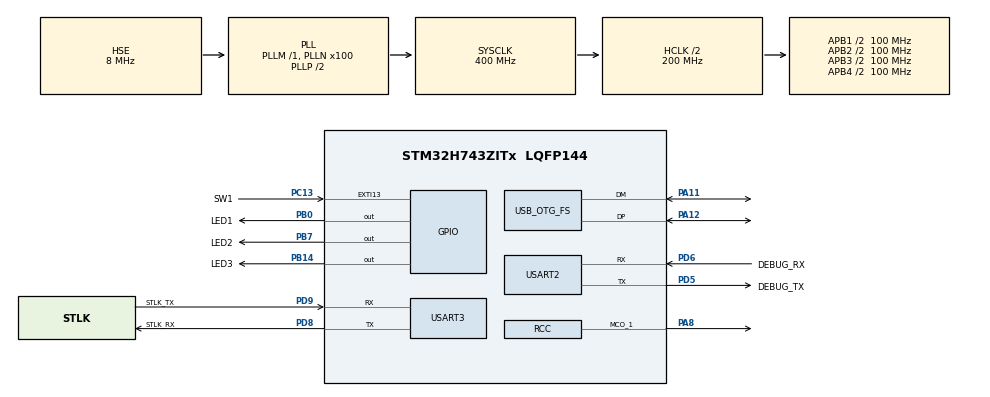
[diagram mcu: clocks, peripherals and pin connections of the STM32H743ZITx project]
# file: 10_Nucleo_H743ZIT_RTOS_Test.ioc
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FREERTOS.Tasks01=defaultTask,0,128,StartDefaultTask,Default,NULL
Mcu.Family=STM32H7
Mcu.Name=STM32H743ZITx
Mcu.Package=LQFP144
NVIC.EXTI15_10_IRQn=true\:5\:0\:false\:false\:true\:true\:true\:true
NVIC.OTG_FS_IRQn=true\:5\:0\:false\:false\:true\:true\:false\:true
NVIC.PriorityGroup=NVIC_PRIORITYGROUP_4
NVIC.TIM16_IRQn=true\:0\:0\:false\:false\:true\:false\:false\:true
NVIC.TIM17_IRQn=true\:5\:0\:false\:false\:true\:true\:true\:true
NVIC.TimeBase=TIM16_IRQn
NVIC.TimeBaseIP=TIM16
NVIC.USART2_IRQn=true\:5\:0\:false\:false\:true\:true\:true\:true
PA11.Mode=Device_Only
PA11.Signal=USB_OTG_FS_DM
PA12.Mode=Device_Only
PA12.Signal=USB_OTG_FS_DP
PA8.Mode=Clock-out-1
PA8.Signal=RCC_MCO_1
PB0.GPIO_Label=LED1
PB0.GPIO_PuPd=GPIO_PULLUP
PB0.Signal=GPIO_Output
PB14.GPIO_Label=LED3
PB14.GPIO_PuPd=GPIO_PULLUP
PB14.Signal=GPIO_Output
PB7.GPIO_Label=LED2
PB7.GPIO_PuPd=GPIO_PULLUP
PB7.Signal=GPIO_Output
PC13.GPIO_Label=SW1
PC13.Signal=GPXTI13
PC14-OSC32_IN\ (OSC32_IN).Mode=LSE-External-Oscillator
PC14-OSC32_IN\ (OSC32_IN).Signal=RCC_OSC32_IN
PC15-OSC32_OUT\ (OSC32_OUT).Mode=LSE-External-Oscillator
PC15-OSC32_OUT\ (OSC32_OUT).Signal=RCC_OSC32_OUT
PD5.GPIO_Label=DEBUG_TX
PD5.Mode=Asynchronous
PD5.Signal=USART2_TX
PD6.GPIO_Label=DEBUG_RX
PD6.Mode=Asynchronous
PD6.Signal=USART2_RX
PD8.GPIO_Label=STLK_RX
PD8.Mode=Asynchronous
PD8.Signal=USART3_TX
PD9.GPIO_Label=STLK_TX
PD9.Mode=Asynchronous
PD9.Signal=USART3_RX
PH0-OSC_IN\ (PH0).Mode=HSE-External-Oscillator
PH0-OSC_IN\ (PH0).Signal=RCC_OSC_IN
PH1-OSC_OUT\ (PH1).Mode=HSE-External-Oscillator
PH1-OSC_OUT\ (PH1).Signal=RCC_OSC_OUT
ProjectManager.HeapSize=0x200
ProjectManager.StackSize=0x400
ProjectManager.TargetToolchain=EWARM V8
RCC.ADCFreq_Value=16125000
RCC.APB1Freq_Value=100000000
RCC.APB2Freq_Value=100000000
RCC.APB3Freq_Value=100000000
RCC.APB4Freq_Value=100000000
RCC.CortexFreq_Value=400000000
RCC.D1PPRE=RCC_APB3_DIV2
RCC.D2PPRE1=RCC_APB1_DIV2
RCC.D2PPRE2=RCC_APB2_DIV2
RCC.D3PPRE=RCC_APB4_DIV2
RCC.DIVM1=1
RCC.DIVN1=100
RCC.HCLKFreq_Value=200000000
RCC.HPRE=RCC_HCLK_DIV2
RCC.HSE_VALUE=8000000
RCC.PLL2FRACN=0
RCC.PLL3FRACN=0
RCC.PLLFRACN=0
RCC.PLLSourceVirtual=RCC_PLLSOURCE_HSE
RCC.RCC_MCO1Source=RCC_MCO1SOURCE_PLL1QCLK
RCC.RCC_MCODiv1=RCC_MCODIV_10
RCC.SYSCLKFreq_VALUE=400000000
RCC.SYSCLKSource=RCC_SYSCLKSOURCE_PLLCLK
RCC.USBCLockSelection=RCC_USBCLKSOURCE_HSI48
RCC.USBFreq_Value=48000000
USART2.VirtualMode-Asynchronous=VM_ASYNC
USART3.VirtualMode-Asynchronous=VM_ASYNC
USB_DEVICE.CLASS_NAME_FS=CDC
USB_DEVICE.VirtualMode-CDC_FS=Cdc
USB_DEVICE.VirtualModeFS=Cdc_FS
USB_OTG_FS.VirtualMode=Device_Only
VP_FREERTOS_VS_CMSIS_V1.Mode=CMSIS_V1
VP_SYS_VS_tim16.Mode=TIM16
VP_TIM17_VS_ClockSourceINT.Mode=Enable_Timer
VP_USB_DEVICE_VS_USB_DEVICE_CDC_FS.Mode=CDC_FS
board=custom

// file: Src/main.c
/* USER CODE BEGIN Header */
/**
  ******************************************************************************
  * @file           : main.c
  * @brief          : Main program body
  ******************************************************************************
  * @attention
  *
  * <h2><center>&copy; Copyright (c) 2019 STMicroelectronics.
  * All rights reserved.</center></h2>
  *
  * This software component is licensed by ST under Ultimate Liberty license
  * SLA0044, the "License"; You may not use this file except in compliance with
  * the License. You may obtain a copy of the License at:
  *                             www.st.com/SLA0044
  *
  ******************************************************************************
  */
/* USER CODE END Header */

#include "main.h"
#include "cmsis_os.h"
#include "tim.h"
#include "usart.h"
#include "usb_device.h"
#include "gpio.h"

/* USER CODE BEGIN Includes */
#include "debug.h"
/* USER CODE END Includes */

void SystemClock_Config(void);
void MX_FREERTOS_Init(void);

int main(void)
{

  /* MCU Configuration--------------------------------------------------------*/

  /* Reset of all peripherals, Initializes the Flash interface and the Systick. */
  HAL_Init();

  /* Configure the system clock */
  SystemClock_Config();

  /* Initialize all configured peripherals */
  MX_GPIO_Init();
  MX_TIM17_Init();
  MX_USART2_UART_Init();
  MX_USART3_UART_Init();
  /* USER CODE BEGIN 2 */
	jiprintf( "\r\n\nStart RTOS Test...(%s)\r\n", __DATE__ );

	/* Gpio Init for LED -------------------------------------------------------*/
	HAL_GPIO_WritePin( LED1_GPIO_Port, LED1_Pin, GPIO_PIN_RESET );							// RTOS start
	HAL_GPIO_WritePin( LED2_GPIO_Port, LED2_Pin, GPIO_PIN_RESET );
	HAL_GPIO_WritePin( LED3_GPIO_Port, LED3_Pin, GPIO_PIN_RESET );

  /* USER CODE END 2 */

  /* Call init function for freertos objects (in freertos.c) */
  MX_FREERTOS_Init();

  /* Start scheduler */
  osKernelStart();

  /* We should never get here as control is now taken by the scheduler */

  /* Infinite loop */
  while (1)
  {

  }
}

void SystemClock_Config(void)
{
  RCC_OscInitTypeDef RCC_OscInitStruct = {0};
  RCC_ClkInitTypeDef RCC_ClkInitStruct = {0};
  RCC_PeriphCLKInitTypeDef PeriphClkInitStruct = {0};

  /** Supply configuration update enable
  */
  HAL_PWREx_ConfigSupply(PWR_LDO_SUPPLY);
  /** Configure the main internal regulator output voltage
  */
  __HAL_PWR_VOLTAGESCALING_CONFIG(PWR_REGULATOR_VOLTAGE_SCALE1);

  while(!__HAL_PWR_GET_FLAG(PWR_FLAG_VOSRDY)) {}
  /** Initializes the CPU, AHB and APB busses clocks
  */
  RCC_OscInitStruct.OscillatorType = RCC_OSCILLATORTYPE_HSI48|RCC_OSCILLATORTYPE_HSE;
  RCC_OscInitStruct.HSEState = RCC_HSE_ON;
  RCC_OscInitStruct.HSI48State = RCC_HSI48_ON;
  RCC_OscInitStruct.PLL.PLLState = RCC_PLL_ON;
  RCC_OscInitStruct.PLL.PLLSource = RCC_PLLSOURCE_HSE;
  RCC_OscInitStruct.PLL.PLLM = 1;
  RCC_OscInitStruct.PLL.PLLN = 100;
  RCC_OscInitStruct.PLL.PLLP = 2;
  RCC_OscInitStruct.PLL.PLLQ = 2;
  RCC_OscInitStruct.PLL.PLLR = 2;
  RCC_OscInitStruct.PLL.PLLRGE = RCC_PLL1VCIRANGE_3;
  RCC_OscInitStruct.PLL.PLLVCOSEL = RCC_PLL1VCOWIDE;
  RCC_OscInitStruct.PLL.PLLFRACN = 0;
  if (HAL_RCC_OscConfig(&RCC_OscInitStruct) != HAL_OK)
  {
    Error_Handler();
  }
  /** Initializes the CPU, AHB and APB busses clocks
  */
  RCC_ClkInitStruct.ClockType = RCC_CLOCKTYPE_HCLK|RCC_CLOCKTYPE_SYSCLK
                              |RCC_CLOCKTYPE_PCLK1|RCC_CLOCKTYPE_PCLK2
                              |RCC_CLOCKTYPE_D3PCLK1|RCC_CLOCKTYPE_D1PCLK1;
  RCC_ClkInitStruct.SYSCLKSource = RCC_SYSCLKSOURCE_PLLCLK;
  RCC_ClkInitStruct.SYSCLKDivider = RCC_SYSCLK_DIV1;
  RCC_ClkInitStruct.AHBCLKDivider = RCC_HCLK_DIV2;
  RCC_ClkInitStruct.APB3CLKDivider = RCC_APB3_DIV2;
  RCC_ClkInitStruct.APB1CLKDivider = RCC_APB1_DIV2;
  RCC_ClkInitStruct.APB2CLKDivider = RCC_APB2_DIV2;
  RCC_ClkInitStruct.APB4CLKDivider = RCC_APB4_DIV2;

  if (HAL_RCC_ClockConfig(&RCC_ClkInitStruct, FLASH_LATENCY_2) != HAL_OK)
  {
    Error_Handler();
  }
  PeriphClkInitStruct.PeriphClockSelection = RCC_PERIPHCLK_USART3|RCC_PERIPHCLK_USART2
                              |RCC_PERIPHCLK_USB;
  PeriphClkInitStruct.Usart234578ClockSelection = RCC_USART234578CLKSOURCE_D2PCLK1;
  PeriphClkInitStruct.UsbClockSelection = RCC_USBCLKSOURCE_HSI48;
  if (HAL_RCCEx_PeriphCLKConfig(&PeriphClkInitStruct) != HAL_OK)
  {
    Error_Handler();
  }
  HAL_RCC_MCOConfig(RCC_MCO1, RCC_MCO1SOURCE_PLL1QCLK, RCC_MCODIV_10);
  /** Enable USB Voltage detector
  */
  HAL_PWREx_EnableUSBVoltageDetector();
}

void HAL_TIM_PeriodElapsedCallback(TIM_HandleTypeDef *htim)
{
  if (htim->Instance == TIM16) {
    HAL_IncTick();
  }
}

void Error_Handler(void)
{
}

/************************ (C) COPYRIGHT STMicroelectronics *****END OF FILE****/

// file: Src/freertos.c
/* USER CODE BEGIN Header */
/**
  ******************************************************************************
  * File Name          : freertos.c
  * Description        : Code for freertos applications
  ******************************************************************************
  * @attention
  *
  * <h2><center>&copy; Copyright (c) 2019 STMicroelectronics.
  * All rights reserved.</center></h2>
  *
  * This software component is licensed by ST under Ultimate Liberty license
  * SLA0044, the "License"; You may not use this file except in compliance with
  * the License. You may obtain a copy of the License at:
  *                             www.st.com/SLA0044
  *
  ******************************************************************************
  */
/* USER CODE END Header */

#include "FreeRTOS.h"
#include "task.h"
#include "main.h"
#include "cmsis_os.h"

/* USER CODE BEGIN Includes */
#include "usart.h"

#include "data.h"
#include "debug.h"
#include "ringbuff.h"

/* USER CODE END Includes */

/* USER CODE BEGIN Variables */
properties_t struPropertie;

/* USER CODE END Variables */
osThreadId defaultTaskHandle;

/* USER CODE BEGIN FunctionPrototypes */
U8 initVariable( void );
/* USER CODE END FunctionPrototypes */

void StartDefaultTask(void const * argument);

extern void MX_USB_DEVICE_Init(void);
void MX_FREERTOS_Init(void); /* (MISRA C 2004 rule 8.1) */

void MX_FREERTOS_Init(void) {
  /* USER CODE BEGIN Init */
	U8	ret = 0;

	ret = initVariable();
	if( ret )
	{
		jeprintf( "Fail initialize Variable!!!\r\n" );
		while( 1 );
	}

	InitRingBuffer( &rbUartRx );
	HAL_UART_Receive_IT( &huart2, &rbUartRx.dummy, 1 );
  /* USER CODE END Init */

  /* Create the thread(s) */
  /* definition and creation of defaultTask */
  osThreadDef(defaultTask, StartDefaultTask, osPriorityNormal, 0, 128);
  defaultTaskHandle = osThreadCreate(osThread(defaultTask), NULL);

}

void StartDefaultTask(void const * argument)
{
  /* init code for USB_DEVICE */
  MX_USB_DEVICE_Init();

  /* USER CODE BEGIN StartDefaultTask */
  /* Infinite loop */
	for(;;)
	{
		HAL_GPIO_TogglePin( LED1_GPIO_Port, LED1_Pin );
		osDelay(1000);
	}
  /* USER CODE END StartDefaultTask */
}

/* USER CODE BEGIN Application */
U8 initVariable( void )
{
	U8 ret = INIT_OK;

	jiprintf( "%s\r\n", __func__ );
	//-----------------------------------------------------------------
	//   Status Check Flag
	//-----------------------------------------------------------------
	struPropertie.mUartInFlag	= 0;

	//-----------------------------------------------------------------
	//   Memory Pool variable
	//-----------------------------------------------------------------
	osPoolDef( uartcommpool, UART_POOL_SIZE, UartPkt_t );
	struPropertie.hUartCommPool = osPoolCreate( osPool( uartcommpool ) );
	if( struPropertie.hUartCommPool == NULL )
	{
		jeprintf( "error... osPoolCreate uartcommpool\r\n" );
		ret = INIT_FAIL;
	}

	//-----------------------------------------------------------------
	//   Message variable
	//-----------------------------------------------------------------
	osMessageQDef( incommmessage, MESSAGE_QUEUE_SIZE, MsgClst_t );
	struPropertie.hInCommMessage = osMessageCreate( osMessageQ( incommmessage ), NULL );
	if( struPropertie.hInCommMessage == NULL )
	{
		jeprintf( "error... osMessageCreate incommmessage\r\n" );
		ret = INIT_FAIL;
	}

	//-----------------------------------------------------------------
	//   Thread variable
	//-----------------------------------------------------------------
	osThreadDef( receive, receiveUartThread, osPriorityNormal, 0, 128 );
    struPropertie.hReceiveUartThread = osThreadCreate( osThread( receive ), NULL );

    osThreadDef( send, sendDataThread, osPriorityNormal, 0, 128 );
    struPropertie.hSendDataThread = osThreadCreate( osThread( send ), NULL );

	return ret;
}

/*-------------------------------------------------------------------
	UART Protocol
---------------------------------------------------------------------
	Header : |G|I|T|lenH|lenL|				Total 5Byte
	Data									Total lenH * 256 + lenL
	CheckSum								Total 1Byte
-------------------------------------------------------------------*/
void receiveUartThread( void const *argument )
{
	UartPkt_t	*packet;
	MsgClst_t	message;

	U32			len;
	U32			i;
	U32			waitTime;

	U8			checksum = 0;
	U8			data;

	for(;;)
	{
		HAL_GPIO_TogglePin( LED2_GPIO_Port, LED2_Pin );
		osDelay( 100 );

		/* Uart	Start(GIT)가 들어올때까지 Wait */
		if( GetQueueSize( &rbUartRx ) < UART_PROTOCOL_START_SIZE )
		{
			continue;
		}
		else
		{
			Dequeue( &rbUartRx, &data );
			if( data == 'G'	)
			{
				Dequeue( &rbUartRx, &data );
				if(	data == 'I' )
				{
					Dequeue( &rbUartRx, &data );
					if(	data == 'T' )
					{
						/* Data Length(2Byte)가 들어 올때 까지 대기 */
						while( GetQueueSize( &rbUartRx ) < 2 )
						{
							osDelay( 10 );
						}

						/* Get Data	Length */
						Dequeue( &rbUartRx, &data );
						len	= data * 256;
						Dequeue( &rbUartRx, &data );
						len	= len +	data;
						jprintf( "data len = %d\r\n", len );

						/* 데이터 및 CheckSum이 수신될때까지 대기 */
						waitTime = 300;		// 3s
						while( GetQueueSize( &rbUartRx ) < len + 1 )
						{
							waitTime--;
							if(	waitTime ==	0 )
							{
								jeprintf(	"error... timeout receive uart data!!\r\n" );
								while( !IsEmpty( &rbUartRx ) )
								{
									Dequeue( &rbUartRx, &data );
								}

								break;
							}

							osDelay( 10	);
						}

						if(	waitTime ==	0 )		continue;						// uart	Reset

						/* 수신된 데이터를 Packet에	저장 */
						packet			= ( UartPkt_t* )osPoolAlloc( struPropertie.hUartCommPool );
						packet->mLen	= len;

						for( i = 0; i < len; i++ )
						{
							Dequeue( &rbUartRx, &packet->mData[i] );
							jprintf( "0x%02x ", packet->mData[i] );

							checksum += packet->mData[i];
						}

						jnprintf();

						/* 수신된 데이터 CheckSum Check */
						Dequeue( &rbUartRx, &data );
						if( checksum != data )
						{
							jeprintf( "Fail CheckSum(receive:0x%02x, calculate:0x%02x)...\r\n", data, checksum );
							continue;
						}

						checksum = 0;

						/* Packet을 InCommMessage에 전달 */
						message.mCommSource	= UART_INTERFACE;
						message.pPacket		= (void*)packet;
						osMessagePut( struPropertie.hInCommMessage, (uint32_t)&message, osWaitForever );
					}
				}
			}
		}
	}
}

void sendDataThread( void const *argument )
{
	osEvent		evt;
	MsgClst_t	*message;

	for(;;)
	{
		evt		= osMessageGet( struPropertie.hInCommMessage, osWaitForever );
		message = ( MsgClst_t * )evt.value.p;

		switch( message->mCommSource )
		{
			case USB_INTERFACE	:
				break;

			case UART_INTERFACE	:
			{
				UartPkt_t	*packet;
				U32			i;

				packet	= (UartPkt_t*)message->pPacket;
				for( i = 0; i < packet->mLen; i++ )
				{
					jprintf( "0x%02x ", packet->mData[i] );
				}

				jnprintf();

				break;
			}

			case WIFI_INTERFACE	:
				break;

			case BT_INTERFACE	:
				break;

			default				:
				break;
		}

		HAL_GPIO_TogglePin( LED3_GPIO_Port, LED3_Pin );
		osDelay(100);
	}
}

/* USER CODE END Application */

/************************ (C) COPYRIGHT STMicroelectronics *****END OF FILE****/
